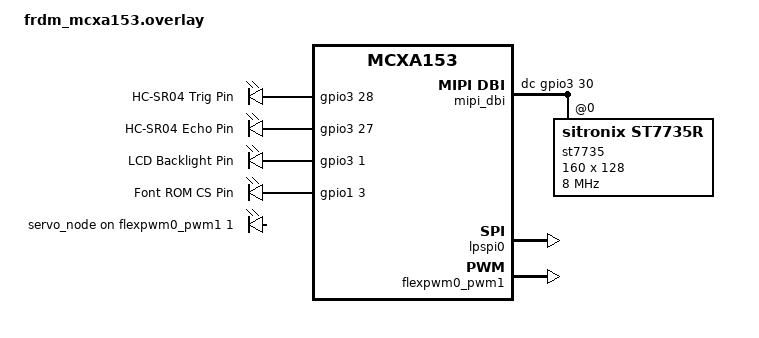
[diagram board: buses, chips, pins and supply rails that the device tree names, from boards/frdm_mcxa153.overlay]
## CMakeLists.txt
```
cmake_minimum_required(VERSION 3.20.0)

find_package(Zephyr REQUIRED HINTS $ENV{ZEPHYR_BASE})
project(final_radar_system)

target_sources(app PRIVATE
    src/main.c
    src/gui_radar.c
    src/algo_object_detect.c
)
# 注：font_chip.c 字库驱动保留在 src/ 但暂不编入——排查花屏期间停用字库，
# 屏上只画雷达图。恢复时把 src/font_chip.c 加回 target_sources 即可。
```

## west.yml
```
manifest:
  remotes:
    - name: zephyrproject
      url-base: https://github.com/zephyrproject-rtos
  projects:
    - name: zephyr
      repo-path: zephyr
      remote: zephyrproject
      revision: v4.4.0
      clone-depth: 1
      import:
        path-prefix: external
        name-allowlist:
          - cmsis_6
          - picolibc
          - segger
          - hal_nxp
```

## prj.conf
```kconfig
CONFIG_GPIO=y
CONFIG_PWM=y
CONFIG_SPI=y
CONFIG_DISPLAY=y
CONFIG_ST7735R=y
CONFIG_SENSOR=y
CONFIG_P3T1755=y
CONFIG_I3C=y
CONFIG_LOG=y
CONFIG_PRINTK=y
CONFIG_CBPRINTF_FP_SUPPORT=y
CONFIG_LOG_MODE_IMMEDIATE=y
CONFIG_MAIN_STACK_SIZE=1536
CONFIG_FPU=y
CONFIG_NEWLIB_LIBC=n
CONFIG_HEAP_MEM_POOL_SIZE=2048
```

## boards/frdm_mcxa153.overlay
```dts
// SPDX-License-Identifier: Apache-2.0
// Copyright (c) 2026 Tomimi

#include <nxp/mcx/MCXA153VLH-pinctrl.h>

&pinctrl {
	pinmux_flexpwm0_pwm1: pinmux_flexpwm0_pwm1 {
		group0 {
			pinmux = <PWM0_B1_P3_9>;
			slew-rate = "fast";
			drive-strength = "low";
		};
	};
};

/ {
	chosen {
		zephyr,display = &st7735;
	};

	aliases {
		sonar-trig    = &sonar_trig_pin;
		sonar-echo    = &sonar_echo_pin;
		servo-pwm     = &servo_node;
		lcd-backlight = &lcd_blk_pin;
		font-cs      = &font_cs_pin;
		/* Product control is the board's SW3, named user_button_3 in the BSP. */
		sw0           = &user_button_3;
		/* SW2 doubles as the ISP entry button; safe to sample as GPIO at runtime. */
		range-btn     = &user_button_2;
	};

	app_gpio_pins {
		compatible = "gpio-leds";
		sonar_trig_pin: sonar_trig {
			gpios = <&gpio3 28 GPIO_ACTIVE_HIGH>;
			label = "HC-SR04 Trig Pin";
		};
		sonar_echo_pin: sonar_echo {
			gpios = <&gpio3 27 (GPIO_ACTIVE_HIGH | GPIO_PULL_DOWN)>;
			label = "HC-SR04 Echo Pin";
		};
		lcd_blk_pin: lcd_blk {
			gpios = <&gpio3 1 GPIO_ACTIVE_HIGH>;
			label = "LCD Backlight Pin";
		};
		/* LCD and font ROM share the physical CS line. High selects the ROM. */
		font_cs_pin: font_cs {
			gpios = <&gpio1 3 GPIO_ACTIVE_HIGH>;
			label = "Font ROM CS Pin";
		};
	};

	servo_dev {
		compatible = "pwm-leds";
		servo_node: servo_0 {
			pwms = <&flexpwm0_pwm1 1 20000000 0>; /* 50Hz, 20ms, PWM0_B1_P3_9 */
		};
	};

	mipi_dbi {
		compatible = "zephyr,mipi-dbi-spi";
		spi-dev = <&lpspi0>;
		dc-gpios = <&gpio3 30 GPIO_ACTIVE_HIGH>;
		#address-cells = <1>;
		#size-cells = <0>;

		st7735: st7735r@0 {
			compatible = "sitronix,st7735r";
			reg = <0>;
			mipi-max-frequency = <8000000>; /* 杜邦线环境下 15MHz 边沿振铃会花屏，8MHz 足够 */
			mipi-mode = "MIPI_DBI_MODE_SPI_4WIRE";
			width = <160>;
			height = <128>;
			x-offset = <0>;
			y-offset = <0>;
			madctl = <0x60>;
			colmod = <0x55>;
			invctr = <0>;
			inversion-on; /* 这块 1.8" 屏需要反显，缺省 INV_OFF 会整屏花/发白 */
			pwctr1 = [a2 02 84];
			pwctr2 = [c5];
			pwctr3 = [0a 00];
			pwctr4 = [8a 2a];
			pwctr5 = [8a ee];
			vmctr1 = <0x0e>;
			gamctrp1 = [0f 1a 0f 18 2f 28 20 22 1f 1b 23 37 00 07 02 10];
			gamctrn1 = [0f 1b 0f 17 33 2c 29 2e 30 30 39 3f 00 07 03 10];
		};
	};
};

&lpspi0 {
	status = "okay";
	cs-gpios = <&gpio1 3 GPIO_ACTIVE_LOW>;
};

&flexpwm0_pwm1 {
	status = "okay";
	pinctrl-0 = <&pinmux_flexpwm0_pwm1>;
	pinctrl-names = "default";
};
```

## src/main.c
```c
/*
 * Copyright (c) 2026 Tomimi
 * SPDX-License-Identifier: Apache-2.0
 *
 * FRDM-MCXA153 ultrasonic radar integration:
 * servo scan, HC-SR04 sampling, radar rendering/object detection, and SW3 control.
 */

#include <zephyr/kernel.h>
#include <zephyr/device.h>
#include <zephyr/drivers/gpio.h>
#include <zephyr/drivers/pwm.h>
#include <zephyr/drivers/display.h>
#include <zephyr/drivers/sensor.h>
#include <zephyr/logging/log.h>
#include <errno.h>
#include <stdio.h>
#include <string.h>

#include "gui_radar.h"
#include "algo_object_detect.h"

LOG_MODULE_REGISTER(final_radar_system, LOG_LEVEL_INF);

static const struct gpio_dt_spec trig_spec = GPIO_DT_SPEC_GET(DT_ALIAS(sonar_trig), gpios);
static const struct gpio_dt_spec echo_spec = GPIO_DT_SPEC_GET(DT_ALIAS(sonar_echo), gpios);
static const struct pwm_dt_spec servo_spec = PWM_DT_SPEC_GET(DT_ALIAS(servo_pwm));
/* The application overlay maps sw0 to the board's SW3 node. */
static const struct gpio_dt_spec btn0_spec = GPIO_DT_SPEC_GET(DT_ALIAS(sw0), gpios);
/* SW2 (P3_29, active low): cycle the radar range at runtime. */
static const struct gpio_dt_spec btn_range_spec = GPIO_DT_SPEC_GET(DT_ALIAS(range_btn), gpios);
static const struct device *const temp_dev = DEVICE_DT_GET(DT_ALIAS(ambient_temp0));

#define SERVO_MIN_PULSE_US  500
#define SERVO_MAX_PULSE_US  2500
#define STACK_SIZE          2048
#define SONAR_TIMEOUT_MS    35
#define BUTTON_DEBOUNCE_MS  50
/*
 * 舵机物理安装方向与屏上雷达角度方向相反时打开（1 = 屏幕显示 180°-实际角度）。
 * 换安装方向/换舵机后方向不对，改这一个宏即可。
 */
#define SERVO_ANGLE_REVERSED 1

struct radar_sample_t {
	uint8_t angle;
	int16_t dist_mm;
	uint16_t frame_id;
	bool is_frame_end;
};

K_MSGQ_DEFINE(radar_msgq, sizeof(struct radar_sample_t), 32, 4);
static struct k_sem sem_servo_ready;
static struct k_sem sem_echo_done;
static struct k_work_delayable button_work;
static struct k_work_delayable range_button_work;

/*
 * SW2 量程档位表（mm）：30cm 起步，逐档翻倍到 2m。
 * 小量程时同样 78px 半径分给更短距离，近距离分辨率更高。
 */
static const uint16_t range_table_mm[] = {300, 600, 1000, 2000};
#define RANGE_GEAR_COUNT ARRAY_SIZE(range_table_mm)

static volatile bool scan_paused;
static volatile uint16_t current_max_range_mm = 1000;
static volatile uint8_t g_range_idx = 2; /* 默认 1m 档 */
/* 量程切换请求标志：SW2 的 work 里置位，由 main 线程执行画面复位（SPI 事务不跨线程） */
static volatile bool range_switch_pending;
static volatile uint8_t g_current_angle;
static volatile int16_t g_latest_dist_mm = -1;
static volatile uint16_t g_current_frame_id;

#define STATUS_LOG_INTERVAL_MS 1000 /* 距离/角度状态打印周期 */
#define TEMP_LOG_INTERVAL_MS   5000 /* 温度打印与刷新周期 */

static volatile uint32_t t_rise;
static volatile uint32_t t_fall;
static volatile bool echo_flag;
static volatile bool echo_armed;
static struct gpio_callback echo_cb_data;
static struct gpio_callback btn_cb_data;
static struct gpio_callback btn_range_cb_data;

static int servo_set_angle(uint8_t angle)
{
	if (angle > 180) {
		angle = 180;
	}

	uint32_t pulse_us = SERVO_MIN_PULSE_US +
		((uint32_t)angle * (SERVO_MAX_PULSE_US - SERVO_MIN_PULSE_US)) / 180U;
	return pwm_set_pulse_dt(&servo_spec, PWM_USEC(pulse_us));
}

static void echo_gpio_callback(const struct device *dev, struct gpio_callback *cb, uint32_t pins)
{
	ARG_UNUSED(dev);
	ARG_UNUSED(cb);
	ARG_UNUSED(pins);

	if (!echo_armed) {
		return;
	}

	int val = gpio_pin_get_dt(&echo_spec);
	if (val < 0) {
		return;
	}
	if (val > 0) {
		t_rise = k_cycle_get_32();
	} else if (echo_flag == false) {
		t_fall = k_cycle_get_32();
		echo_flag = true;
		echo_armed = false;
		k_sem_give(&sem_echo_done);
	}
}

static void button_work_handler(struct k_work *work)
{
	ARG_UNUSED(work);
	scan_paused = !scan_paused;
	LOG_INF("SW3: scanning %s", scan_paused ? "paused" : "running");
}

static void button_callback(const struct device *dev, struct gpio_callback *cb, uint32_t pins)
{
	ARG_UNUSED(dev);
	ARG_UNUSED(cb);
	ARG_UNUSED(pins);
	/* Keep the GPIO ISR short; the delayed work provides debounce and logging. */
	(void)k_work_reschedule(&button_work, K_MSEC(BUTTON_DEBOUNCE_MS));
}

/* SW2：只切档位置标志，画面复位交给 main 线程（保证 SPI 事务单线程） */
static void range_button_work_handler(struct k_work *work)
{
	ARG_UNUSED(work);
	g_range_idx = (uint8_t)((g_range_idx + 1) % RANGE_GEAR_COUNT);
	current_max_range_mm = range_table_mm[g_range_idx];
	range_switch_pending = true;
	LOG_INF("SW2: range switched to %u mm (%u cm)",
		current_max_range_mm, current_max_range_mm / 10U);
}

static void range_button_callback(const struct device *dev, struct gpio_callback *cb,
				  uint32_t pins)
{
	ARG_UNUSED(dev);
	ARG_UNUSED(cb);
	ARG_UNUSED(pins);
	(void)k_work_reschedule(&range_button_work, K_MSEC(BUTTON_DEBOUNCE_MS));
}

static int32_t sonar_sample_distance_mm(void)
{
	/* Discard any completion left by an earlier measurement. */
	while (k_sem_take(&sem_echo_done, K_NO_WAIT) == 0) {
	}

	echo_flag = false;
	echo_armed = true;

	int ret = gpio_pin_set_dt(&trig_spec, 0);
	if (ret < 0) {
		echo_armed = false;
		return -1;
	}
	k_busy_wait(2);
	ret = gpio_pin_set_dt(&trig_spec, 1);
	if (ret < 0) {
		echo_armed = false;
		return -1;
	}
	k_busy_wait(12);
	ret = gpio_pin_set_dt(&trig_spec, 0);
	if (ret < 0) {
		echo_armed = false;
		return -1;
	}

	ret = k_sem_take(&sem_echo_done, K_MSEC(SONAR_TIMEOUT_MS));
	echo_armed = false;
	if (ret != 0 || !echo_flag) {
		/* Drain a race with the falling edge before the next trigger. */
		while (k_sem_take(&sem_echo_done, K_NO_WAIT) == 0) {
		}
		return -1;
	}

	uint32_t cycles = (t_fall >= t_rise) ? (t_fall - t_rise) :
		((UINT32_MAX - t_rise) + t_fall + 1U);
	uint32_t us = (uint32_t)k_cyc_to_us_floor64(cycles);
	int32_t dist_mm = (int32_t)((us * 343ULL) / 2000ULL);

	return (dist_mm >= 20 && dist_mm <= 4000) ? dist_mm : -1;
}

static void put_latest_sample(const struct radar_sample_t *sample)
{
	if (k_msgq_put(&radar_msgq, sample, K_NO_WAIT) == 0) {
		return;
	}

	/* Keep the producer non-blocking while making room for the newest sample. */
	struct radar_sample_t discarded;
	(void)k_msgq_get(&radar_msgq, &discarded, K_NO_WAIT);
	if (k_msgq_put(&radar_msgq, sample, K_NO_WAIT) != 0) {
		LOG_WRN("Radar queue full; sample at %u deg dropped", sample->angle);
	}
}

K_THREAD_STACK_DEFINE(servo_stack, STACK_SIZE);
static struct k_thread servo_thread_data;

static void servo_thread(void *p1, void *p2, void *p3)
{
	ARG_UNUSED(p1);
	ARG_UNUSED(p2);
	ARG_UNUSED(p3);

	int ret = servo_set_angle(0);
	if (ret < 0) {
		LOG_ERR("Cannot set initial servo angle (%d)", ret);
	}
	k_msleep(1000);

	int8_t step_dir = 1;
	int16_t angle = 0;
	bool first_sample = true;

	while (true) {
		if (scan_paused) {
			k_msleep(20);
			continue;
		}

		/* A frame is one complete sweep from one endpoint to the other. */
		if (!first_sample && angle == 0 && step_dir < 0) {
			g_current_frame_id++;
		}
		first_sample = false;

		ret = servo_set_angle((uint8_t)angle);
		if (ret < 0) {
			LOG_ERR("Servo angle %d failed (%d)", angle, ret);
		}
		g_current_angle = (uint8_t)angle;
		k_msleep(18);
		k_sem_give(&sem_servo_ready);

		angle += step_dir;
		if (angle >= 180) {
			angle = 180;
			step_dir = -1;
			k_msleep(100);
		} else if (angle <= 0) {
			angle = 0;
			step_dir = 1;
			k_msleep(100);
		}
	}
}

K_THREAD_STACK_DEFINE(sonar_stack, STACK_SIZE);
static struct k_thread sonar_thread_data;

static void sonar_thread(void *p1, void *p2, void *p3)
{
	ARG_UNUSED(p1);
	ARG_UNUSED(p2);
	ARG_UNUSED(p3);

	while (true) {
		(void)k_sem_take(&sem_servo_ready, K_FOREVER);
		struct radar_sample_t sample = {
			.angle = SERVO_ANGLE_REVERSED ? (uint8_t)(180 - g_current_angle) :
							(uint8_t)g_current_angle,
			.dist_mm = (int16_t)sonar_sample_distance_mm(),
			.frame_id = g_current_frame_id,
			.is_frame_end = (g_current_angle == 180),
		};
		put_latest_sample(&sample);
	}
}

static bool init_gpio(void)
{
	if (!gpio_is_ready_dt(&trig_spec) || !gpio_is_ready_dt(&echo_spec)) {
		LOG_ERR("Sonar GPIO device is not ready");
		return false;
	}
	if (gpio_pin_configure_dt(&trig_spec, GPIO_OUTPUT_INACTIVE) < 0 ||
	    gpio_pin_configure_dt(&echo_spec, GPIO_INPUT) < 0) {
		LOG_ERR("Cannot configure sonar GPIO");
		return false;
	}

	gpio_init_callback(&echo_cb_data, echo_gpio_callback, BIT(echo_spec.pin));
	if (gpio_add_callback(echo_spec.port, &echo_cb_data) < 0 ||
	    gpio_pin_interrupt_configure_dt(&echo_spec, GPIO_INT_EDGE_BOTH) < 0) {
		LOG_ERR("Cannot configure echo interrupt");
		return false;
	}

	if (!gpio_is_ready_dt(&btn0_spec) || gpio_pin_configure_dt(&btn0_spec, GPIO_INPUT) < 0) {
		LOG_ERR("SW3 GPIO is not ready or cannot be configured");
		return false;
	}
	gpio_init_callback(&btn_cb_data, button_callback, BIT(btn0_spec.pin));
	if (gpio_add_callback(btn0_spec.port, &btn_cb_data) < 0 ||
	    gpio_pin_interrupt_configure_dt(&btn0_spec, GPIO_INT_EDGE_TO_ACTIVE) < 0) {
		LOG_ERR("Cannot configure SW3 interrupt");
		return false;
	}

	if (!gpio_is_ready_dt(&btn_range_spec) ||
	    gpio_pin_configure_dt(&btn_range_spec, GPIO_INPUT) < 0) {
		LOG_ERR("SW2 GPIO is not ready or cannot be configured");
		return false;
	}
	gpio_init_callback(&btn_range_cb_data, range_button_callback, BIT(btn_range_spec.pin));
	if (gpio_add_callback(btn_range_spec.port, &btn_range_cb_data) < 0 ||
	    gpio_pin_interrupt_configure_dt(&btn_range_spec, GPIO_INT_EDGE_TO_ACTIVE) < 0) {
		LOG_ERR("Cannot configure SW2 interrupt");
		return false;
	}
	return true;
}

/* 低频状态日志：1s 打印一次角度+距离（无回波时打印 no-echo），5s 追加一次温度 */
static void update_status_log(uint32_t *last_status_ms, uint32_t *last_temp_ms)
{
	uint32_t now = k_uptime_get_32();
	if ((uint32_t)(now - *last_status_ms) < STATUS_LOG_INTERVAL_MS) {
		return;
	}
	*last_status_ms = now;

	int16_t dist = g_latest_dist_mm;
	if (dist > 0) {
		LOG_INF("angle=%3u deg  dist=%4d mm", g_current_angle, dist);
	} else {
		LOG_INF("angle=%3u deg  dist=  -- (no echo)", g_current_angle);
	}

	if ((uint32_t)(now - *last_temp_ms) < TEMP_LOG_INTERVAL_MS) {
		return;
	}
	*last_temp_ms = now;

	if (!device_is_ready(temp_dev)) {
		LOG_WRN("P3T1755 device is not ready");
		return;
	}

	struct sensor_value value;
	int ret = sensor_sample_fetch_chan(temp_dev, SENSOR_CHAN_AMBIENT_TEMP);
	if (ret == 0) {
		ret = sensor_channel_get(temp_dev, SENSOR_CHAN_AMBIENT_TEMP, &value);
	}
	if (ret < 0) {
		LOG_WRN("P3T1755 read failed (%d)", ret);
		return;
	}

	double temp_c = sensor_value_to_double(&value);
	LOG_INF("Ambient temperature: %.1f C", temp_c);
}

static int16_t scan_frame_buffer[RADAR_MAX_POINTS];
static struct detected_object detected_objs[MAX_DETECTED_OBJECTS];

int main(void)
{
	const struct device *display_dev = DEVICE_DT_GET(DT_CHOSEN(zephyr_display));
	int ret;

	LOG_INF("==========================================================");
	LOG_INF("   FRDM-MCXA153 Ultrasonic Radar and Reconstructor System");
	LOG_INF("==========================================================");

	if (!device_is_ready(display_dev)) {
		LOG_ERR("Display device is not ready");
		return -ENODEV;
	}
	LOG_INF("Display device ready");

	if (!pwm_is_ready_dt(&servo_spec)) {
		LOG_ERR("Servo PWM device is not ready");
		return -ENODEV;
	}
	LOG_INF("Servo PWM ready");

	if (!init_gpio()) {
		LOG_ERR("GPIO initialization failed");
		return -EIO;
	}
	LOG_INF("Sonar/echo/button GPIO ready");

	ret = display_blanking_off(display_dev);
	if (ret < 0) {
		LOG_ERR("display_blanking_off failed (%d)", ret);
		return -EIO;
	}
	ret = gui_radar_init(display_dev);
	if (ret < 0) {
		LOG_ERR("gui_radar_init failed (%d)", ret);
		return -EIO;
	}
	LOG_INF("Display blanking off, GUI ready");

	k_sem_init(&sem_servo_ready, 0, 1);
	k_sem_init(&sem_echo_done, 0, 1);
	k_work_init_delayable(&button_work, button_work_handler);
	k_work_init_delayable(&range_button_work, range_button_work_handler);
	algo_init(NULL);
	for (size_t i = 0; i < ARRAY_SIZE(scan_frame_buffer); i++) {
		scan_frame_buffer[i] = -1;
	}

	k_thread_create(&servo_thread_data, servo_stack, K_THREAD_STACK_SIZEOF(servo_stack),
			servo_thread, NULL, NULL, NULL, 5, 0, K_NO_WAIT);
	k_thread_create(&sonar_thread_data, sonar_stack, K_THREAD_STACK_SIZEOF(sonar_stack),
			sonar_thread, NULL, NULL, NULL, 5, 0, K_NO_WAIT);

	gui_radar_clear_screen();
	gui_radar_draw_static_frame();
	LOG_INF("Screen cleared, static radar frame drawn, entering main loop");

	struct radar_sample_t sample;
	uint16_t active_frame_id = UINT16_MAX;
	uint32_t last_status_ms = 0;
	uint32_t last_temp_ms = 0;

	while (true) {
		if (range_switch_pending) {
			range_switch_pending = false;
			gui_radar_reset_view();
		}
		if (k_msgq_get(&radar_msgq, &sample, K_MSEC(100)) != 0) {
			update_status_log(&last_status_ms, &last_temp_ms);
			continue;
		}
		update_status_log(&last_status_ms, &last_temp_ms);

		if (sample.angle >= RADAR_MAX_POINTS) {
			continue;
		}
		if (sample.dist_mm > 0) {
			g_latest_dist_mm = sample.dist_mm;
		}
		if (sample.frame_id != active_frame_id) {
			for (size_t i = 0; i < ARRAY_SIZE(scan_frame_buffer); i++) {
				scan_frame_buffer[i] = -1;
			}
			active_frame_id = sample.frame_id;
		}

		/* Invalid samples are retained as -1 for the algorithm, but do not draw points. */
		gui_radar_update_scan_line(sample.angle,
					   sample.dist_mm > 0 ? (uint16_t)sample.dist_mm : 0,
					   current_max_range_mm);
		scan_frame_buffer[sample.angle] = sample.dist_mm;

		if (!sample.is_frame_end) {
			continue;
		}

		uint8_t count = algo_process_scan_frame(scan_frame_buffer, detected_objs,
							MAX_DETECTED_OBJECTS);
		if (count > 0) {
			struct detected_object *best = &detected_objs[0];
			LOG_INF("object #%u: %u-%u deg  L=%.1fcm  D=%ucm",
				best->id, best->start_angle, best->end_angle,
				(double)best->calculated_length_cm, best->min_dist_mm / 10);
		} else {
			LOG_INF("frame %u: no object", (unsigned int)sample.frame_id);
		}
	}
}
```

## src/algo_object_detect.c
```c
/*
 * Copyright (c) 2026 Tomimi
 * SPDX-License-Identifier: Apache-2.0
 */

#include "algo_object_detect.h"
#include <math.h>
#include <stdlib.h>

#define PI_F 3.14159265358979323846f

static struct algo_config g_cfg = {
	.dist_continuity_threshold_mm = 60,
	.min_cluster_points = 3,
	.beam_compensation_deg = 8.0f,
};

void algo_init(const struct algo_config *cfg)
{
	if (cfg != NULL) {
		g_cfg = *cfg;
	}
}

float algo_calculate_width_cosine(uint16_t r1_mm, uint8_t th1_deg, uint16_t r2_mm, uint8_t th2_deg, float beam_comp)
{
	if (th2_deg <= th1_deg) return 0.0f;

	float delta_deg = (float)(th2_deg - th1_deg) - beam_comp;
	if (delta_deg < 1.0f) delta_deg = 1.0f;

	float rad = delta_deg * (PI_F / 180.0f);
	float r1_cm = (float)r1_mm / 10.0f;
	float r2_cm = (float)r2_mm / 10.0f;

	float l_sq = (r1_cm * r1_cm) + (r2_cm * r2_cm) - (2.0f * r1_cm * r2_cm * cosf(rad));
	if (l_sq < 0.0f) return 0.0f;

	return sqrtf(l_sq);
}

uint8_t algo_process_scan_frame(const int16_t *scan_frame_mm, struct detected_object *objects_out, uint8_t max_objs)
{
	uint8_t obj_count = 0;
	bool in_cluster = false;
	uint8_t cluster_start_angle = 0;
	uint16_t cluster_start_dist = 0;
	uint16_t cluster_min_dist = 0xFFFF;
	uint8_t cluster_min_angle = 0;
	int16_t last_valid_dist = -1;
	uint8_t cluster_pts = 0;

	for (uint8_t angle = 0; angle <= 180; angle++) {
		int16_t dist = scan_frame_mm[angle];
		bool is_valid = (dist >= 20 && dist <= 2000);

		if (is_valid) {
			if (!in_cluster) {
				in_cluster = true;
				cluster_start_angle = angle;
				cluster_start_dist = (uint16_t)dist;
				cluster_min_dist = (uint16_t)dist;
				cluster_min_angle = angle;
				cluster_pts = 1;
				last_valid_dist = dist;
			} else {
				int16_t diff = abs(dist - last_valid_dist);
				if (diff <= g_cfg.dist_continuity_threshold_mm) {
					cluster_pts++;
					last_valid_dist = dist;
					if ((uint16_t)dist < cluster_min_dist) {
						cluster_min_dist = (uint16_t)dist;
						cluster_min_angle = angle;
					}
				} else {
					if (cluster_pts >= g_cfg.min_cluster_points && obj_count < max_objs) {
						uint8_t end_ang = angle - 1;
						uint16_t end_dst = (uint16_t)last_valid_dist;

						objects_out[obj_count].id = obj_count + 1;
						objects_out[obj_count].start_angle = cluster_start_angle;
						objects_out[obj_count].end_angle = end_ang;
						objects_out[obj_count].start_dist_mm = cluster_start_dist;
						objects_out[obj_count].end_dist_mm = end_dst;
						objects_out[obj_count].min_dist_mm = cluster_min_dist;
						objects_out[obj_count].center_angle = cluster_min_angle;
						objects_out[obj_count].calculated_length_cm =
							algo_calculate_width_cosine(cluster_start_dist, cluster_start_angle,
										    end_dst, end_ang, g_cfg.beam_compensation_deg);
						obj_count++;
					}

					cluster_start_angle = angle;
					cluster_start_dist = (uint16_t)dist;
					cluster_min_dist = (uint16_t)dist;
					cluster_min_angle = angle;
					cluster_pts = 1;
					last_valid_dist = dist;
				}
			}
		} else {
			if (in_cluster) {
				if (cluster_pts >= g_cfg.min_cluster_points && obj_count < max_objs) {
					uint8_t end_ang = angle - 1;
					uint16_t end_dst = (uint16_t)last_valid_dist;

					objects_out[obj_count].id = obj_count + 1;
					objects_out[obj_count].start_angle = cluster_start_angle;
					objects_out[obj_count].end_angle = end_ang;
					objects_out[obj_count].start_dist_mm = cluster_start_dist;
					objects_out[obj_count].end_dist_mm = end_dst;
					objects_out[obj_count].min_dist_mm = cluster_min_dist;
					objects_out[obj_count].center_angle = cluster_min_angle;
					objects_out[obj_count].calculated_length_cm =
						algo_calculate_width_cosine(cluster_start_dist, cluster_start_angle,
									    end_dst, end_ang, g_cfg.beam_compensation_deg);
					obj_count++;
				}
				in_cluster = false;
				cluster_pts = 0;
			}
		}
	}

	if (in_cluster && cluster_pts >= g_cfg.min_cluster_points && obj_count < max_objs) {
		objects_out[obj_count].id = obj_count + 1;
		objects_out[obj_count].start_angle = cluster_start_angle;
		objects_out[obj_count].end_angle = 180;
		objects_out[obj_count].start_dist_mm = cluster_start_dist;
		objects_out[obj_count].end_dist_mm = (uint16_t)last_valid_dist;
		objects_out[obj_count].min_dist_mm = cluster_min_dist;
		objects_out[obj_count].center_angle = cluster_min_angle;
		objects_out[obj_count].calculated_length_cm =
			algo_calculate_width_cosine(cluster_start_dist, cluster_start_angle,
						    (uint16_t)last_valid_dist, 180, g_cfg.beam_compensation_deg);
		obj_count++;
	}

	return obj_count;
}
```

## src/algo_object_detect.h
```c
/*
 * Copyright (c) 2026 Tomimi
 * SPDX-License-Identifier: Apache-2.0
 */

#ifndef __ALGO_OBJECT_DETECT_H
#define __ALGO_OBJECT_DETECT_H

#include <zephyr/kernel.h>
#include <stdint.h>
#include <stdbool.h>

#define RADAR_MAX_POINTS 181
#define MAX_DETECTED_OBJECTS 3

struct detected_object {
	uint8_t id;
	uint8_t start_angle;
	uint8_t end_angle;
	uint16_t start_dist_mm;
	uint16_t end_dist_mm;
	uint16_t min_dist_mm;
	uint8_t center_angle;
	float calculated_length_cm;
};

struct algo_config {
	uint16_t dist_continuity_threshold_mm;
	uint8_t min_cluster_points;
	float beam_compensation_deg;
};

void algo_init(const struct algo_config *cfg);
uint8_t algo_process_scan_frame(const int16_t *scan_frame_mm, struct detected_object *objects_out, uint8_t max_objs);
float algo_calculate_width_cosine(uint16_t r1_mm, uint8_t th1_deg, uint16_t r2_mm, uint8_t th2_deg, float beam_comp);

#endif /* __ALGO_OBJECT_DETECT_H */
```

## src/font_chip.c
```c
/*
 * Copyright (c) 2026 Tomimi
 * SPDX-License-Identifier: Apache-2.0
 */

#include "font_chip.h"
#include <errno.h>
#include <zephyr/logging/log.h>

LOG_MODULE_REGISTER(font_chip_final, LOG_LEVEL_INF);

#define DISPLAY_WIDTH  160
#define DISPLAY_HEIGHT 128

static const struct device *display_dev;
static const struct device *spi_dev = DEVICE_DT_GET(DT_NODELABEL(lpspi0));
static const struct gpio_dt_spec font_cs_spec = GPIO_DT_SPEC_GET(DT_ALIAS(font_cs), gpios);

#if DT_NODE_EXISTS(DT_ALIAS(lcd_backlight))
static const struct gpio_dt_spec blk_spec = GPIO_DT_SPEC_GET(DT_ALIAS(lcd_backlight), gpios);
#endif

static uint8_t font_buf[128];
static uint16_t pixel_buf[32 * 32];

static const struct spi_config spi_cfg = {
	.frequency = 10000000,
	.operation = SPI_WORD_SET(8) | SPI_TRANSFER_MSB,
	.slave = 0,
	/* CS is shared with the LCD and is driven explicitly around ROM reads. */
};

int font_chip_init(const struct device *display)
{
	if (display == NULL || !device_is_ready(display)) {
		LOG_ERR("Display device is not ready");
		return -ENODEV;
	}
	if (!device_is_ready(spi_dev)) {
		LOG_ERR("Font ROM SPI device is not ready");
		return -ENODEV;
	}
	if (!gpio_is_ready_dt(&font_cs_spec)) {
		LOG_ERR("Font ROM CS GPIO is not ready");
		return -ENODEV;
	}
	int ret = gpio_pin_configure_dt(&font_cs_spec, GPIO_OUTPUT_INACTIVE);
	if (ret < 0) {
		LOG_ERR("Cannot configure font ROM CS (%d)", ret);
		return ret;
	}

	display_dev = display;

#if DT_NODE_EXISTS(DT_ALIAS(lcd_backlight))
	if (!gpio_is_ready_dt(&blk_spec)) {
		LOG_ERR("LCD backlight GPIO is not ready");
		return -ENODEV;
	}
	ret = gpio_pin_configure_dt(&blk_spec, GPIO_OUTPUT_ACTIVE);
	if (ret < 0) {
		LOG_ERR("Cannot configure LCD backlight (%d)", ret);
		return ret;
	}
#endif

	return 0;
}

static int get_n_bytes_from_rom(uint32_t addr, uint8_t *buf, uint16_t len)
{
	uint8_t cmd[4] = {
		0x03,
		(uint8_t)((addr >> 16) & 0xFF),
		(uint8_t)((addr >> 8) & 0xFF),
		(uint8_t)(addr & 0xFF),
	};
	const struct spi_buf tx_bufs[] = {
		{ .buf = cmd, .len = sizeof(cmd) },
	};
	const struct spi_buf rx_bufs[] = {
		{ .buf = NULL, .len = sizeof(cmd) },
		{ .buf = buf, .len = len },
	};
	const struct spi_buf_set tx = { .buffers = tx_bufs, .count = ARRAY_SIZE(tx_bufs) };
	const struct spi_buf_set rx = { .buffers = rx_bufs, .count = ARRAY_SIZE(rx_bufs) };

	/* The board routes the shared physical CS high through an inverter to the ROM. */
	int ret = gpio_pin_set_dt(&font_cs_spec, 1);
	if (ret < 0) {
		return ret;
	}
	ret = spi_transceive(spi_dev, &spi_cfg, &tx, &rx);
	int deselect_ret = gpio_pin_set_dt(&font_cs_spec, 0);
	return ret < 0 ? ret : deselect_ret;
}

static bool display_region_is_valid(uint16_t x, uint16_t y, uint8_t width, uint8_t height)
{
	return display_dev != NULL && x < DISPLAY_WIDTH && y < DISPLAY_HEIGHT &&
	       width <= DISPLAY_WIDTH - x && height <= DISPLAY_HEIGHT - y;
}

static void draw_pixels(uint16_t x, uint16_t y, uint8_t width, uint8_t height,
			uint16_t fc, uint16_t bc)
{
	if (!display_region_is_valid(x, y, width, height)) {
		return;
	}

	struct display_buffer_descriptor desc = {
		.buf_size = (size_t)width * height * sizeof(uint16_t),
		.width = width,
		.height = height,
		.pitch = width,
	};
	int ret = display_write(display_dev, x, y, &desc, pixel_buf);
	if (ret < 0) {
		LOG_ERR("Display write failed (%d)", ret);
	}
	ARG_UNUSED(fc);
	ARG_UNUSED(bc);
}

void font_chip_draw_char_asc(uint16_t x, uint16_t y, char c, zk_asc_size_t size,
			     uint16_t fc, uint16_t bc)
{
	if (c < 0x20 || c > 0x7E) {
		return;
	}

	uint32_t base_addr;
	uint8_t bytes_per_char;
	uint8_t width;
	uint8_t height;

	switch (size) {
	case ZK_SIZE_5X7:
		base_addr = 0x1DDF80; bytes_per_char = 8; width = 6; height = 8; break;
	case ZK_SIZE_7X8:
		base_addr = 0x1DE280; bytes_per_char = 8; width = 8; height = 8; break;
	case ZK_SIZE_6X12:
		base_addr = 0x1DBE00; bytes_per_char = 12; width = 6; height = 12; break;
	case ZK_SIZE_8X16:
		base_addr = 0x1DD780; bytes_per_char = 16; width = 8; height = 16; break;
	case ZK_SIZE_12X24:
		base_addr = 0x1DFF00; bytes_per_char = 48; width = 12; height = 24; break;
	case ZK_SIZE_16X32:
		base_addr = 0x1E5A50; bytes_per_char = 64; width = 16; height = 32; break;
	default:
		return;
	}

	if (!display_region_is_valid(x, y, width, height) ||
	    get_n_bytes_from_rom(base_addr + (uint32_t)(c - 0x20) * bytes_per_char,
				font_buf, bytes_per_char) < 0) {
		return;
	}

	uint16_t p_idx = 0;
	uint8_t row_bytes = (width + 7U) / 8U;
	for (uint8_t row = 0; row < height; row++) {
		for (uint8_t col = 0; col < width; col++) {
			uint8_t byte_idx = row * row_bytes + col / 8U;
			uint8_t bit_idx = 7U - (col % 8U);
			uint16_t color = (font_buf[byte_idx] & BIT(bit_idx)) ? fc : bc;
			pixel_buf[p_idx++] = (uint16_t)((color >> 8) | (color << 8));
		}
	}
	draw_pixels(x, y, width, height, fc, bc);
}

static bool gb2312_address(uint8_t msb, uint8_t lsb, zk_chinese_size_t size,
			   uint32_t *address, uint8_t *bytes, uint8_t *width)
{
	if (lsb < 0xA1 || lsb > 0xFE ||
	    !((msb >= 0xA1 && msb <= 0xA9) || (msb >= 0xB0 && msb <= 0xF7))) {
		return false;
	}

	uint32_t index;
	if (msb <= 0xA9) {
		index = (uint32_t)(msb - 0xA1) * 94U + (lsb - 0xA1);
	} else {
		index = (uint32_t)(msb - 0xB0) * 94U + (lsb - 0xA1) + 846U;
	}

	switch (size) {
	case ZK_CH_12X12:
		*bytes = 24; *width = 12; *address = index * 24U; return true;
	case ZK_CH_16X16:
		*bytes = 32; *width = 16; *address = 0x2C9D0U + index * 32U; return true;
	case ZK_CH_24X24:
		*bytes = 72; *width = 24; *address = 0x68190U + index * 72U; return true;
	case ZK_CH_32X32:
		*bytes = 128; *width = 32; *address = 0xEDF00U + index * 128U; return true;
	default:
		return false;
	}
}

static void draw_char_cn(uint16_t x, uint16_t y, uint8_t msb, uint8_t lsb,
			 zk_chinese_size_t size, uint16_t fc, uint16_t bc)
{
	uint32_t address;
	uint8_t bytes;
	uint8_t width;
	if (!gb2312_address(msb, lsb, size, &address, &bytes, &width) ||
	    !display_region_is_valid(x, y, width, width) ||
	    get_n_bytes_from_rom(address, font_buf, bytes) < 0) {
		return;
	}

	uint16_t p_idx = 0;
	uint8_t row_bytes = (width + 7U) / 8U;
	for (uint8_t row = 0; row < width; row++) {
		for (uint8_t col = 0; col < width; col++) {
			uint8_t byte_idx = row * row_bytes + col / 8U;
			uint8_t bit_idx = 7U - (col % 8U);
			uint16_t color = (font_buf[byte_idx] & BIT(bit_idx)) ? fc : bc;
			pixel_buf[p_idx++] = (uint16_t)((color >> 8) | (color << 8));
		}
	}
	draw_pixels(x, y, width, width, fc, bc);
}

void font_chip_draw_chinese_gb2312(uint16_t x, uint16_t y, uint8_t msb, uint8_t lsb,
				   zk_chinese_size_t size, uint16_t fc, uint16_t bc)
{
	draw_char_cn(x, y, msb, lsb, size, fc, bc);
}

void font_chip_draw_string_asc(uint16_t x, uint16_t y, const char *str,
			       zk_asc_size_t size, uint16_t fc, uint16_t bc)
{
	if (str == NULL) {
		return;
	}

	uint8_t char_width;
	uint8_t char_height;
	switch (size) {
	case ZK_SIZE_5X7: char_width = 6; char_height = 8; break;
	case ZK_SIZE_7X8: char_width = 8; char_height = 8; break;
	case ZK_SIZE_6X12: char_width = 6; char_height = 12; break;
	case ZK_SIZE_8X16: char_width = 8; char_height = 16; break;
	case ZK_SIZE_12X24: char_width = 12; char_height = 24; break;
	case ZK_SIZE_16X32: char_width = 16; char_height = 32; break;
	default: return;
	}

	uint16_t cur_x = x;
	uint16_t cur_y = y;
	while (*str != '\0') {
		if (*str == '\n') {
			cur_x = x;
			cur_y += char_height;
			str++;
			continue;
		}
		if (*str < 0x20 || *str > 0x7E) {
			str++;
			continue;
		}
		if (cur_x + char_width > DISPLAY_WIDTH || cur_y + char_height > DISPLAY_HEIGHT) {
			break;
		}
		font_chip_draw_char_asc(cur_x, cur_y, *str++, size, fc, bc);
		cur_x += char_width;
	}
}
```

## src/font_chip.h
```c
/*
 * Copyright (c) 2026 Tomimi
 * SPDX-License-Identifier: Apache-2.0
 */

#ifndef __FONT_CHIP_H
#define __FONT_CHIP_H

#include <zephyr/kernel.h>
#include <zephyr/drivers/spi.h>
#include <zephyr/drivers/gpio.h>
#include <zephyr/drivers/display.h>

typedef enum {
	ZK_SIZE_5X7 = 1,
	ZK_SIZE_7X8 = 2,
	ZK_SIZE_6X12 = 3,
	ZK_SIZE_8X16 = 4,
	ZK_SIZE_12X24 = 5,
	ZK_SIZE_16X32 = 6,
} zk_asc_size_t;

typedef enum {
	ZK_CH_12X12 = 1,
	ZK_CH_16X16 = 2,
	ZK_CH_24X24 = 3,
	ZK_CH_32X32 = 4,
} zk_chinese_size_t;

int font_chip_init(const struct device *display);
void font_chip_draw_char_asc(uint16_t x, uint16_t y, char c, zk_asc_size_t size, uint16_t fc, uint16_t bc);
void font_chip_draw_string_asc(uint16_t x, uint16_t y, const char *str, zk_asc_size_t size, uint16_t fc, uint16_t bc);
void font_chip_draw_chinese_gb2312(uint16_t x, uint16_t y, uint8_t msb, uint8_t lsb, zk_chinese_size_t size, uint16_t fc, uint16_t bc);

#endif /* __FONT_CHIP_H */
```

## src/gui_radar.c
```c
/*
 * Copyright (c) 2026 Tomimi
 * SPDX-License-Identifier: Apache-2.0
 */

#include "gui_radar.h"
#include <stdlib.h>

static const struct device *disp_dev;

static const int16_t sin_lut_q15[181] = {
	0, 571, 1143, 1714, 2285, 2855, 3425, 3993, 4560, 5125,
	5689, 6252, 6812, 7370, 7927, 8480, 9031, 9580, 10125, 10667,
	11206, 11742, 12274, 12803, 13327, 13848, 14364, 14875, 15383, 15885,
	16383, 16876, 17363, 17846, 18323, 18794, 19259, 19719, 20172, 20620,
	21062, 21497, 21925, 22347, 22762, 23169, 23570, 23964, 24350, 24729,
	25101, 25465, 25821, 26169, 26509, 26841, 27165, 27481, 27788, 27988,
	28377, 28659, 28931, 29196, 29451, 29697, 29934, 30162, 30381, 30591,
	30791, 30982, 31163, 31335, 31497, 31650, 31792, 31925, 32047, 32160,
	32262, 32355, 32437, 32509, 32571, 32623, 32665, 32696, 32717, 32728,
	32767, 32728, 32717, 32696, 32665, 32623, 32571, 32509, 32437, 32355,
	32262, 32160, 32047, 31925, 31792, 31650, 31497, 31335, 31163, 30982,
	30791, 30591, 30381, 30162, 29934, 29697, 29451, 29196, 28931, 28659,
	28377, 27988, 27788, 27481, 27165, 26841, 26509, 26169, 25821, 25465,
	25101, 24729, 24350, 23964, 23570, 23169, 22762, 22347, 21925, 21497,
	21062, 20620, 20172, 19719, 19259, 18794, 18323, 17846, 17363, 16876,
	16383, 15885, 15383, 14875, 14364, 13848, 13327, 12803, 12274, 11742,
	11206, 10667, 10125, 9580, 9031, 8480, 7927, 7370, 6812, 6252,
	5689, 5125, 4560, 3993, 3425, 2855, 2285, 1714, 1143, 571, 0
};

static const int16_t cos_lut_q15[181] = {
	32767, 32728, 32717, 32696, 32665, 32623, 32571, 32509, 32437, 32355,
	32262, 32160, 32047, 31925, 31792, 31650, 31497, 31335, 31163, 30982,
	30791, 30591, 30381, 30162, 29934, 29697, 29451, 29196, 28931, 28659,
	28377, 27988, 27788, 27481, 27165, 26841, 26509, 26169, 25821, 25465,
	25101, 24729, 24350, 23964, 23570, 23169, 22762, 22347, 21925, 21497,
	21062, 20620, 20172, 19719, 19259, 18794, 18323, 17846, 17363, 16876,
	16383, 15885, 15383, 14875, 14364, 13848, 13327, 12803, 12274, 11742,
	11206, 10667, 10125, 9580, 9031, 8480, 7927, 7370, 6812, 6252,
	5689, 5125, 4560, 3993, 3425, 2855, 2285, 1714, 1143, 571,
	0, -571, -1143, -1714, -2285, -2855, -3425, -3993, -4560, -5125,
	-5689, -6252, -6812, -7370, -7927, -8480, -9031, -9580, -10125, -10667,
	-11206, -11742, -12274, -12803, -13327, -13848, -14364, -14875, -15383, -15885,
	-16383, -16876, -17363, -17846, -18323, -18794, -19259, -19719, -20172, -20620,
	-21062, -21497, -21925, -22347, -22762, -23169, -23570, -23964, -24350, -24729,
	-25101, -25465, -25821, -26169, -26509, -26841, -27165, -27481, -27788, -27988,
	-28377, -28659, -28931, -29196, -29451, -29697, -29934, -30162, -30381, -30591,
	-30791, -30982, -31163, -31335, -31497, -31650, -31792, -31925, -32047, -32160,
	-32262, -32355, -32437, -32509, -32571, -32623, -32665, -32696, -32717, -32728, -32767
};

static int16_t last_beam_x = RADAR_CENTER_X;
static int16_t last_beam_y = RADAR_CENTER_Y - RADAR_MAX_R;
static int16_t last_point_x;
static int16_t last_point_y;
static bool last_point_valid;
/*
 * 每个角度最近一次"有遮挡"的距离（mm），-1 表示该角度当前无遮挡记录。
 * 遮挡线画出来后一直保留到下一次扫过同一角度才更新——真实雷达的余辉效果。
 */
static int16_t shadow_dist_mm[181];

/*
 * overlay 开了 inversion-on（不开会花屏），面板会把写入的像素值硬件取反，
 * 所以软件写屏前统一先取反补偿，COLOR_RADAR_* 宏保持"直觉色"不变：
 * 0x0000 仍然是黑底、0x07E0 仍然是绿线。
 * 小端 MCU → SPI 按大端发 RGB565，再做一次字节序交换。
 */
static inline uint16_t lcd_pixel(uint16_t color)
{
	return __builtin_bswap16((uint16_t)~color);
}

/*
 * Decide whether a pixel belongs to the static radar frame (range rings and
 * angle spokes) without keeping a framebuffer in RAM. The test is analytic:
 * ring membership comes from the squared distance to the radar center, and
 * spoke membership from the perpendicular distance/projection against the
 * seven grid lines. It is a superset of the drawn pixels, so restoring with
 * it never erases static art; it only thickens the dotted rings slightly as
 * the beam sweeps past them.
 */
static bool static_pixel_is_set(int16_t x, int16_t y)
{
	int32_t dx = (int32_t)x - RADAR_CENTER_X;
	int32_t dy = (int32_t)y - RADAR_CENTER_Y;

	/* The half-circle radar frame only occupies the upper half. */
	if (dy > 0) {
		return false;
	}

	int32_t r2 = dx * dx + dy * dy;
	static const int16_t ring_r[] = {26, 52, 78};
	for (size_t i = 0; i < ARRAY_SIZE(ring_r); i++) {
		int32_t r = ring_r[i];
		if (r2 >= (r - 1) * (r - 1) && r2 <= (r + 1) * (r + 1)) {
			return true;
		}
	}

	static const uint8_t spokes[] = {0, 30, 60, 90, 120, 150, 180};
	for (size_t i = 0; i < ARRAY_SIZE(spokes); i++) {
		uint8_t a = spokes[i];
		/* Perpendicular distance to the spoke line, in Q15 pixel units. */
		int32_t cross = dy * cos_lut_q15[a] - dx * sin_lut_q15[a];
		/* Projection along the spoke; must fall within [0, RADAR_MAX_R]. */
		int32_t dot = -(dx * cos_lut_q15[a] + dy * sin_lut_q15[a]);
		if (dot >= 0 && dot <= (int32_t)RADAR_MAX_R * 32767 &&
		    cross >= -32767 && cross <= 32767) {
			return true;
		}
	}
	return false;
}

static void restore_static_pixel(int16_t x, int16_t y)
{
	gui_radar_draw_pixel(x, y, static_pixel_is_set(x, y) ?
				     COLOR_RADAR_GRID : COLOR_RADAR_BG);
}

/* 距离(mm) → 屏幕半径(px)，目标落在量程边缘时钳到最大半径 */
static int16_t dist_to_radius(uint16_t dist_mm, uint16_t max_range_mm)
{
	if (max_range_mm == 0) {
		return 0;
	}
	int32_t r = ((int32_t)dist_mm * RADAR_MAX_R) / max_range_mm;
	if (r > RADAR_MAX_R) {
		r = RADAR_MAX_R;
	}
	if (r < 1) {
		r = 1;
	}
	return (int16_t)r;
}

/* 沿 angle 方向的径向线段 [r_from, r_to]：画固定色或按底图恢复 */
static void spoke_segment(int16_t r_from, int16_t r_to, uint8_t angle, uint16_t color)
{
	for (int16_t r = r_from; r <= r_to; r++) {
		int16_t x = RADAR_CENTER_X - (int16_t)(((int32_t)r * cos_lut_q15[angle]) >> 15);
		int16_t y = RADAR_CENTER_Y - (int16_t)(((int32_t)r * sin_lut_q15[angle]) >> 15);
		gui_radar_draw_pixel(x, y, color);
	}
}

static void spoke_segment_restore(int16_t r_from, int16_t r_to, uint8_t angle)
{
	for (int16_t r = r_from; r <= r_to; r++) {
		int16_t x = RADAR_CENTER_X - (int16_t)(((int32_t)r * cos_lut_q15[angle]) >> 15);
		int16_t y = RADAR_CENTER_Y - (int16_t)(((int32_t)r * sin_lut_q15[angle]) >> 15);
		restore_static_pixel(x, y);
	}
}

void gui_radar_draw_pixel(int16_t x, int16_t y, uint16_t color)
{
	if (disp_dev == NULL || x < 0 || x >= 160 || y < 0 || y >= 128) {
		return;
	}
	uint16_t swapped = lcd_pixel(color);
	struct display_buffer_descriptor desc = {
		.buf_size = sizeof(uint16_t),
		.width = 1,
		.height = 1,
		.pitch = 1,
	};
	(void)display_write(disp_dev, x, y, &desc, &swapped);
}

static void draw_line(int16_t x0, int16_t y0, int16_t x1, int16_t y1, uint16_t color)
{
	int16_t dx = abs(x1 - x0);
	int16_t dy = -abs(y1 - y0);
	int16_t sx = (x0 < x1) ? 1 : -1;
	int16_t sy = (y0 < y1) ? 1 : -1;
	int16_t err = dx + dy;

	while (true) {
		gui_radar_draw_pixel(x0, y0, color);
		if (x0 == x1 && y0 == y1) {
			break;
		}
		int16_t e2 = 2 * err;
		if (e2 >= dy) {
			err += dy;
			x0 += sx;
		}
		if (e2 <= dx) {
			err += dx;
			y0 += sy;
		}
	}
}

static void draw_line_restore(int16_t x0, int16_t y0, int16_t x1, int16_t y1)
{
	int16_t dx = abs(x1 - x0);
	int16_t dy = -abs(y1 - y0);
	int16_t sx = (x0 < x1) ? 1 : -1;
	int16_t sy = (y0 < y1) ? 1 : -1;
	int16_t err = dx + dy;

	while (true) {
		restore_static_pixel(x0, y0);
		if (x0 == x1 && y0 == y1) {
			break;
		}
		int16_t e2 = 2 * err;
		if (e2 >= dy) {
			err += dy;
			x0 += sx;
		}
		if (e2 <= dx) {
			err += dx;
			y0 += sy;
		}
	}
}

static void draw_arc_point(int16_t r, uint16_t color)
{
	for (int deg = 0; deg <= 180; deg += 3) {
		int16_t x = RADAR_CENTER_X - (int16_t)(((int32_t)r * cos_lut_q15[deg]) >> 15);
		int16_t y = RADAR_CENTER_Y - (int16_t)(((int32_t)r * sin_lut_q15[deg]) >> 15);
		gui_radar_draw_pixel(x, y, color);
	}
}

int gui_radar_init(const struct device *display)
{
	disp_dev = display;
	for (size_t i = 0; i < ARRAY_SIZE(shadow_dist_mm); i++) {
		shadow_dist_mm[i] = -1;
	}
	return 0;
}

/*
 * 量程切换后的画面复位：清掉所有持久遮挡线、擦屏并重画静态底图。
 * 只能在 main 线程调用（SPI 显示事务不能跨线程交错）。
 */
void gui_radar_reset_view(void)
{
	for (size_t i = 0; i < ARRAY_SIZE(shadow_dist_mm); i++) {
		shadow_dist_mm[i] = -1;
	}
	last_beam_x = RADAR_CENTER_X;
	last_beam_y = RADAR_CENTER_Y - RADAR_MAX_R;
	last_point_valid = false;
	gui_radar_clear_screen();
	gui_radar_draw_static_frame();
}

/* 整屏清为背景色：一行 160 像素的行缓冲逐行刷 128 次（不占用整屏显存） */
void gui_radar_clear_screen(void)
{
	if (disp_dev == NULL) {
		return;
	}

	static uint16_t row_buf[160];
	const uint16_t bg = lcd_pixel(COLOR_RADAR_BG);
	struct display_buffer_descriptor desc = {
		.buf_size = sizeof(row_buf),
		.width = 160,
		.height = 1,
		.pitch = 160,
	};

	for (int i = 0; i < 160; i++) {
		row_buf[i] = bg;
	}
	for (uint8_t y = 0; y < 128; y++) {
		(void)display_write(disp_dev, 0, y, &desc, row_buf);
	}
}

void gui_radar_draw_static_frame(void)
{
	draw_arc_point(26, COLOR_RADAR_GRID);
	draw_arc_point(52, COLOR_RADAR_GRID);
	draw_arc_point(78, COLOR_RADAR_GRID);

	const uint8_t angles[] = {0, 30, 60, 90, 120, 150, 180};
	for (int i = 0; i < ARRAY_SIZE(angles); i++) {
		uint8_t a = angles[i];
		int16_t x_end = RADAR_CENTER_X - (int16_t)(((int32_t)RADAR_MAX_R * cos_lut_q15[a]) >> 15);
		int16_t y_end = RADAR_CENTER_Y - (int16_t)(((int32_t)RADAR_MAX_R * sin_lut_q15[a]) >> 15);
		draw_line(RADAR_CENTER_X, RADAR_CENTER_Y, x_end, y_end, COLOR_RADAR_GRID);
	}
	gui_radar_draw_pixel(RADAR_CENTER_X, RADAR_CENTER_Y, COLOR_RADAR_BEAM);
}

void gui_radar_update_scan_line(uint8_t angle, uint16_t dist_mm, uint16_t max_range_mm)
{
	if (angle > 180) {
		angle = 180;
	}

	/* 1. 擦掉上一帧移动扫描线和上一个目标点 */
	draw_line_restore(RADAR_CENTER_X, RADAR_CENTER_Y, last_beam_x, last_beam_y);
	if (last_point_valid) {
		restore_static_pixel(last_point_x, last_point_y);
		restore_static_pixel(last_point_x + 1, last_point_y);
		restore_static_pixel(last_point_x, last_point_y + 1);
		restore_static_pixel(last_point_x + 1, last_point_y + 1);
	}

	/*
	 * 2. 本角度上次的遮挡线：扫到该角度就先擦掉旧线——
	 *    无论本次有没有回波，扫过即更新（无回波 = 该方向恢复畅通）。
	 */
	if (shadow_dist_mm[angle] > 0 && max_range_mm > 0) {
		spoke_segment_restore(dist_to_radius((uint16_t)shadow_dist_mm[angle], max_range_mm),
				      RADAR_MAX_R, angle);
	}
	shadow_dist_mm[angle] = -1;

	/* 3. 画新的移动扫描线（整条，绿） */
	int16_t cur_beam_x = RADAR_CENTER_X - (int16_t)(((int32_t)RADAR_MAX_R * cos_lut_q15[angle]) >> 15);
	int16_t cur_beam_y = RADAR_CENTER_Y - (int16_t)(((int32_t)RADAR_MAX_R * sin_lut_q15[angle]) >> 15);

	draw_line(RADAR_CENTER_X, RADAR_CENTER_Y, cur_beam_x, cur_beam_y, COLOR_RADAR_BEAM);
	last_beam_x = cur_beam_x;
	last_beam_y = cur_beam_y;
	last_point_valid = false;

	/* 4. 有有效回波：从物体位置到量程边缘画红色遮挡线，保留到下次扫过该角度 */
	if (dist_mm > 0 && dist_mm <= max_range_mm && max_range_mm > 0) {
		int16_t r_obj = dist_to_radius(dist_mm, max_range_mm);
		spoke_segment(r_obj, RADAR_MAX_R, angle, COLOR_RADAR_POINT);
		shadow_dist_mm[angle] = (int16_t)dist_mm;

		last_point_x = RADAR_CENTER_X - (int16_t)(((int32_t)r_obj * cos_lut_q15[angle]) >> 15);
		last_point_y = RADAR_CENTER_Y - (int16_t)(((int32_t)r_obj * sin_lut_q15[angle]) >> 15);
		gui_radar_draw_pixel(last_point_x, last_point_y, COLOR_RADAR_POINT);
		gui_radar_draw_pixel(last_point_x + 1, last_point_y, COLOR_RADAR_POINT);
		gui_radar_draw_pixel(last_point_x, last_point_y + 1, COLOR_RADAR_POINT);
		gui_radar_draw_pixel(last_point_x + 1, last_point_y + 1, COLOR_RADAR_POINT);
		last_point_valid = true;
	}
}

void gui_radar_draw_object_box(int16_t x1, int16_t y1, int16_t x2, int16_t y2, uint16_t color)
{
	draw_line(x1, y1, x2, y2, color);
}
```

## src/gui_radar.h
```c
/*
 * Copyright (c) 2026 Tomimi
 * SPDX-License-Identifier: Apache-2.0
 */

#ifndef __GUI_RADAR_H
#define __GUI_RADAR_H

#include <zephyr/kernel.h>
#include <zephyr/device.h>
#include <zephyr/drivers/display.h>

#define RADAR_CENTER_X 80
#define RADAR_CENTER_Y 120
#define RADAR_MAX_R    78

#define COLOR_RADAR_BG    0x0000
#define COLOR_RADAR_GRID  0x03E0
#define COLOR_RADAR_BEAM  0x07E0
#define COLOR_RADAR_POINT 0xF800
#define COLOR_RADAR_TEXT  0xFFFF
#define COLOR_RADAR_BOX   0xFFE0

int gui_radar_init(const struct device *display);
void gui_radar_clear_screen(void);
void gui_radar_reset_view(void);
void gui_radar_draw_static_frame(void);
void gui_radar_update_scan_line(uint8_t angle, uint16_t dist_mm, uint16_t max_range_mm);
void gui_radar_draw_pixel(int16_t x, int16_t y, uint16_t color);
void gui_radar_draw_object_box(int16_t x1, int16_t y1, int16_t x2, int16_t y2, uint16_t color);

#endif /* __GUI_RADAR_H */
```
